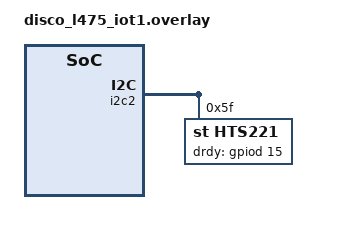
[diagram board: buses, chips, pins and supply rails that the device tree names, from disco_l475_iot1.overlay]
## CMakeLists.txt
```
# SPDX-License-Identifier: Apache-2.0

cmake_minimum_required(VERSION 3.20.0)

find_package(Zephyr REQUIRED HINTS $ENV{ZEPHYR_BASE})
project(disco_mqtt_2)

# Add all source files
FILE(GLOB app_sources src/*.c)
target_sources(app PRIVATE ${app_sources})

# Include common network utilities
include(${ZEPHYR_BASE}/samples/net/common/common.cmake) 
```

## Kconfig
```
# SPDX-License-Identifier: Apache-2.0

mainmenu "Disco MQTT 2 Application Configuration"

config NET_SAMPLE_MQTT_BROKER_HOSTNAME
	string "MQTT broker hostname"
	default "test.mosquitto.org"
	help
	  Hostname of the MQTT broker to connect to.

config NET_SAMPLE_MQTT_BROKER_PORT
	string "MQTT broker port"
	default "1883"
	help
	  Port number of the MQTT broker.

config NET_SAMPLE_MQTT_PUB_TOPIC
	string "MQTT publish topic"
	default "disco/sensors"
	help
	  MQTT topic to publish sensor data to.

config NET_SAMPLE_MQTT_SUB_TOPIC_CMD
	string "MQTT subscribe topic for commands"
	default "disco/commands"
	help
	  MQTT topic to subscribe to for receiving commands.

config NET_SAMPLE_MQTT_PUBLISH_INTERVAL
	int "MQTT publish interval (seconds)"
	default 5
	range 1 3600
	help
	  Interval between MQTT sensor data publications.

config NET_SAMPLE_MQTT_PAYLOAD_SIZE
	int "MQTT payload buffer size"
	default 512
	range 128 2048
	help
	  Size of the MQTT payload buffer in bytes.

choice NET_SAMPLE_MQTT_QOS
	prompt "MQTT QoS level"
	default NET_SAMPLE_MQTT_QOS_1_AT_LEAST_ONCE
	help
	  Select the MQTT Quality of Service level.

config NET_SAMPLE_MQTT_QOS_0_AT_MOST_ONCE
	bool "QoS 0 - At most once"

config NET_SAMPLE_MQTT_QOS_1_AT_LEAST_ONCE
	bool "QoS 1 - At least once"

config NET_SAMPLE_MQTT_QOS_2_EXACTLY_ONCE
	bool "QoS 2 - Exactly once"

endchoice

config WIFI_SSID
	string "WiFi SSID"
	default "ss Wireless"
	help
	  WiFi network SSID to connect to.

config WIFI_PASSWORD
	string "WiFi Password"
	default "Vivian1123"
	help
	  WiFi network password.

source "Kconfig.zephyr" 
```

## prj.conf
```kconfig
# Network Configuration
CONFIG_NETWORKING=y
CONFIG_NET_LOG=y
CONFIG_NET_IPV4=y
CONFIG_NET_TCP=y
CONFIG_NET_SOCKETS=y
# CONFIG_NET_SOCKETS_SOCKOPT_TLS=y  # Disabled for non-secure connection

# WiFi Configuration for disco l475 iot1
CONFIG_WIFI=y
CONFIG_WIFI_ESWIFI=y
CONFIG_WIFI_ESWIFI_BUS_SPI=y
CONFIG_NET_L2_WIFI_MGMT=y
CONFIG_NET_MGMT=y
CONFIG_NET_MGMT_EVENT_STACK_SIZE=2048

# Network Connection Manager
CONFIG_NET_CONNECTION_MANAGER=y
CONFIG_NET_IF_UNICAST_IPV4_ADDR_COUNT=3

# DHCP Client
CONFIG_NET_DHCPV4=y

# MQTT Configuration
CONFIG_MQTT_LIB=y
# CONFIG_MQTT_LIB_TLS=y  # Disabled for non-secure connection

# TLS/Security Configuration (disabled for simplicity)
# CONFIG_MBEDTLS=y
# CONFIG_MBEDTLS_BUILTIN=y
# CONFIG_MBEDTLS_ENABLE_HEAP=y
# CONFIG_MBEDTLS_HEAP_SIZE=65536
# CONFIG_MBEDTLS_SSL_MAX_CONTENT_LEN=16384
# CONFIG_MBEDTLS_PEM_CERTIFICATE_FORMAT=y
# CONFIG_MBEDTLS_SERVER_NAME_INDICATION=y

# JSON Support
CONFIG_JSON_LIBRARY=y

# Sensor Configuration
CONFIG_SENSOR=y
CONFIG_HTS221=y

# LED Support
CONFIG_LED=y
CONFIG_GPIO=y

# System Configuration
CONFIG_MAIN_STACK_SIZE=4096
CONFIG_SYSTEM_WORKQUEUE_STACK_SIZE=4096
CONFIG_NET_TX_STACK_SIZE=2048
CONFIG_NET_RX_STACK_SIZE=2048

# Debugging and Logging
CONFIG_LOG=y
CONFIG_PRINTK=y
# CONFIG_POSIX_API is not set

# Network Buffers - Optimized for WiFi
CONFIG_NET_PKT_RX_COUNT=32
CONFIG_NET_PKT_TX_COUNT=16
CONFIG_NET_BUF_RX_COUNT=64
CONFIG_NET_BUF_TX_COUNT=32
CONFIG_NET_BUF_DATA_SIZE=256

# WiFi Specific Tuning
CONFIG_WIFI_ESWIFI_THREAD_PRIO=5
CONFIG_NET_SOCKETS_POLL_MAX=4
CONFIG_NET_TCP_RECV_QUEUE_TIMEOUT=3000
CONFIG_NET_SOCKETS_CONNECT_TIMEOUT=30000
CONFIG_NET_TCP_TIME_WAIT_DELAY=3000

# Device Hostname
CONFIG_NET_HOSTNAME_ENABLE=y

# Entropy and Random Number Generation
CONFIG_ENTROPY_GENERATOR=y
CONFIG_TEST_RANDOM_GENERATOR=y

# Application specific configs
CONFIG_NET_SAMPLE_MQTT_PUBLISH_INTERVAL=5
CONFIG_NET_SAMPLE_MQTT_PAYLOAD_SIZE=512
CONFIG_NET_SAMPLE_MQTT_BROKER_HOSTNAME="192.168.0.253"
CONFIG_NET_SAMPLE_MQTT_BROKER_PORT="1883"
CONFIG_NET_SAMPLE_MQTT_PUB_TOPIC="disco/sensors"
CONFIG_NET_SAMPLE_MQTT_SUB_TOPIC_CMD="disco/commands"
CONFIG_NET_SAMPLE_MQTT_QOS_1_AT_LEAST_ONCE=y
CONFIG_WIFI_SSID="csse4011"
CONFIG_WIFI_PASSWORD="csse4011wifi"

# Disable ESWIFI Power Save Mode for more stable connection
# CONFIG_ESWIFI_PS_MODE_DISABLED=y # This was incorrect
CONFIG_PM_DEVICE=n # Try disabling general device power management

# Network Samples
# CONFIG_NET_SAMPLE_APP_MAX_ITERATIONS=-1 # This was incorrect, removing duplicate
# Network Connectivity Manager
CONFIG_NET_CONNECTION_MANAGER=y
```

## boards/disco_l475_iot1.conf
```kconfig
# Board-specific configuration for DISCO L475 IOT1

# WiFi configuration specific to ISM43362 module
CONFIG_WIFI_ESWIFI_THREAD_PRIO=5
CONFIG_WIFI_ESWIFI_BUS_SPI=y

# SPI configuration for WiFi module
CONFIG_SPI=y

# GPIO configuration for WiFi module control
CONFIG_GPIO=y

# On-board sensor configuration (HTS221)
CONFIG_HTS221=y
CONFIG_I2C=y

# LED configuration for status indication
CONFIG_LED=y
CONFIG_LED_GPIO=y

# Optimize memory for disco l475 iot1
CONFIG_MAIN_STACK_SIZE=4096
CONFIG_SYSTEM_WORKQUEUE_STACK_SIZE=4096
CONFIG_NET_TX_STACK_SIZE=2048
CONFIG_NET_RX_STACK_SIZE=2048

# Network buffer optimization for WiFi
CONFIG_NET_PKT_RX_COUNT=24
CONFIG_NET_PKT_TX_COUNT=12
CONFIG_NET_BUF_RX_COUNT=48
CONFIG_NET_BUF_TX_COUNT=24

# WiFi driver specific settings
CONFIG_WIFI_ESWIFI_THREAD_PRIO=5
CONFIG_NET_MGMT_EVENT_STACK_SIZE=2048

# Disable features not needed on this board
CONFIG_NET_IPV6=n 
```

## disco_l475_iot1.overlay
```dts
/*
 * Device tree overlay for disco_l475_iot1 to enable HTS221 sensor access
 * SPDX-License-Identifier: Apache-2.0
 */

/* Add label to HTS221 sensor and enable it */
&i2c2 {
	hts221: hts221@5f {
		compatible = "st,hts221";
		reg = <0x5f>;
		drdy-gpios = <&gpiod 15 GPIO_ACTIVE_HIGH>;
		status = "okay";
	};
};

/ {
	aliases {
		ambient-temp0 = &hts221;
		ambient-humid0 = &hts221;
		temp0 = &hts221;
		humid0 = &hts221;
	};
}; 
```

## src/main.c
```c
/*
 * Copyright (c) 2024 disco_mqtt_2 project
 * SPDX-License-Identifier: Apache-2.0
 */

#include <zephyr/logging/log.h>
LOG_MODULE_REGISTER(app_main, LOG_LEVEL_INF);

#include <zephyr/kernel.h>
#include <zephyr/net/net_if.h>
#include <zephyr/net/net_mgmt.h>
#include <zephyr/net/conn_mgr_monitor.h>
#include <zephyr/net/dhcpv4.h>

#include "device.h"
#include "wifi_manager.h"
#include "mqtt_client.h"

/* MQTT client instance */
static struct mqtt_client client_ctx;

/* Work queue for periodic MQTT publishing */
// static struct k_work_delayable mqtt_publish_work;

/* Network connection semaphore */
K_SEM_DEFINE(net_conn_sem, 0, 1);

/* Network management callback */
static struct net_mgmt_event_callback net_l4_mgmt_cb;

/* Application state */
static bool app_running = true;
static bool network_connected = false;

static void net_l4_evt_handler(struct net_mgmt_event_callback *cb,
			       uint32_t mgmt_event, struct net_if *iface)
{
	switch (mgmt_event) {
	case NET_EVENT_L4_CONNECTED:
		LOG_INF("Network L4 connected!");
		network_connected = true;
		device_write_led(LED_STATUS, LED_ON);
		k_sem_give(&net_conn_sem);
		break;
	case NET_EVENT_L4_DISCONNECTED:
		LOG_INF("Network L4 disconnected!");
		network_connected = false;
		device_write_led(LED_STATUS, LED_OFF);
		device_write_led(LED_NET, LED_OFF);
		break;
	default:
		break;
	}
}

static void log_network_info(struct net_if *iface)
{
	char addr_str[NET_IPV4_ADDR_LEN];
	struct net_linkaddr *mac;

	/* Log MAC address */
	mac = net_if_get_link_addr(iface);
	if (mac) {
		LOG_INF("MAC Address: %02X:%02X:%02X:%02X:%02X:%02X",
			mac->addr[0], mac->addr[1], mac->addr[2],
			mac->addr[3], mac->addr[4], mac->addr[5]);
	}

	/* Log IP address if available */
	if (wifi_get_ip_address(addr_str, sizeof(addr_str)) == 0) {
		LOG_INF("IP Address: %s", addr_str);
	}
}

static int initialize_network(void)
{
	struct net_if *iface;
	int rc;

	/* Get default network interface */
	iface = net_if_get_default();
	if (!iface) {
		LOG_ERR("No default network interface found");
		return -ENETDOWN;
	}

	log_network_info(iface);

	/* Register L4 connectivity events */
	net_mgmt_init_event_callback(&net_l4_mgmt_cb, net_l4_evt_handler,
				     NET_EVENT_L4_CONNECTED | NET_EVENT_L4_DISCONNECTED);
	net_mgmt_add_event_callback(&net_l4_mgmt_cb);

	/* Initialize WiFi manager */
	rc = wifi_manager_init();
	if (rc != 0) {
		LOG_ERR("WiFi manager initialization failed [%d]", rc);
		return rc;
	}

	LOG_INF("Network initialization complete");
	return 0;
}

static int connect_to_network(void)
{
	int rc;

	LOG_INF("Starting network connection...");

	/* Optional: Scan for networks first */
	rc = wifi_scan();
	if (rc != 0) {
		LOG_WRN("WiFi scan failed [%d], continuing anyway", rc);
	}

	/* Connect to WiFi */
	rc = wifi_connect(CONFIG_WIFI_SSID, CONFIG_WIFI_PASSWORD);
	if (rc != 0) {
		LOG_ERR("WiFi connection failed [%d]", rc);
		return rc;
	}

	/* Wait for L4 connectivity (DHCP) */
	LOG_INF("Waiting for IP address assignment...");
	if (k_sem_take(&net_conn_sem, K_SECONDS(30)) != 0) {
		LOG_ERR("Network connectivity timeout");
		return -ETIMEDOUT;
	}

	/* Allow network stack to stabilize */
	k_sleep(K_SECONDS(2));

	LOG_INF("Network connection established successfully");
	log_network_info(net_if_get_default());

	return 0;
}

static int mqtt_connection_loop(void)
{
	int rc;

	while (app_running && network_connected) {
		/* Initialize MQTT client */
		rc = app_mqtt_init(&client_ctx);
		if (rc != 0) {
			LOG_ERR("MQTT initialization failed [%d]", rc);
			k_sleep(K_SECONDS(5));
			continue;
		}

		/* Connect to MQTT broker */
		LOG_INF("Connecting to MQTT broker...");
		app_mqtt_connect(&client_ctx);

		if (mqtt_connected) {
			/* Publishing is now handled in app_mqtt_run() loop */
			// k_work_reschedule(&mqtt_publish_work, K_NO_WAIT);

			/* Run MQTT processing loop */
			app_mqtt_run(&client_ctx);

			/* No work-queue to cancel after disconnect */
			// k_work_cancel_delayable(&mqtt_publish_work);
		}

		/* Wait before attempting reconnection */
		if (app_running && network_connected) {
			LOG_INF("Attempting MQTT reconnection in 15 seconds...");
			k_sleep(K_SECONDS(15));
		}
	}

	return 0;
}

int main(void)
{
	int rc;

	LOG_INF("Starting Disco MQTT 2.0 Application");
	LOG_INF("Board: disco_l475_iot1");
	LOG_INF("Build timestamp: %s %s", __DATE__, __TIME__);

	/* Initialize devices */
	rc = devices_init();
	if (rc != 0) {
		LOG_ERR("Device initialization failed [%d]", rc);
		device_write_led(LED_ERROR, LED_ON);
		return rc;
	}

	/* Check device readiness */
	if (!devices_ready()) {
		LOG_WRN("Some devices are not ready, continuing anyway");
	}

	/* Initialize network */
	rc = initialize_network();
	if (rc != 0) {
		LOG_ERR("Network initialization failed [%d]", rc);
		device_write_led(LED_ERROR, LED_ON);
		return rc;
	}

	/* Connect to network */
	rc = connect_to_network();
	if (rc != 0) {
		LOG_ERR("Network connection failed [%d]", rc);
		device_write_led(LED_ERROR, LED_ON);
		return rc;
	}

	/* Main application loop - MQTT connection and processing */
	LOG_INF("Starting MQTT connection loop...");
	rc = mqtt_connection_loop();

	/* Cleanup */
	LOG_INF("Application shutting down");
	app_running = false;
	// k_work_cancel_delayable(&mqtt_publish_work);
	device_write_led(LED_STATUS, LED_OFF);
	device_write_led(LED_NET, LED_OFF);
	device_write_led(LED_ERROR, LED_OFF);

	return rc;
} 
```

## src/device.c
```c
/*
 * Copyright (c) 2024 disco_mqtt_2 project
 * SPDX-License-Identifier: Apache-2.0
 */

#include <zephyr/logging/log.h>
LOG_MODULE_REGISTER(app_device, LOG_LEVEL_DBG);

#include <zephyr/kernel.h>
#include <zephyr/drivers/sensor.h>
#include <zephyr/drivers/gpio.h>
#include <zephyr/random/random.h>
#include <string.h>

#include "device.h"

/* HTS221 Temperature/Humidity sensor */
static const struct device *hts221_dev = DEVICE_DT_GET_OR_NULL(DT_ALIAS(ambient_temp0));

/* GPIO LEDs using the built-in LED on disco l475 iot1 */
#define LED0_NODE DT_ALIAS(led0)
static const struct gpio_dt_spec led_status = GPIO_DT_SPEC_GET(LED0_NODE, gpios);

/* Built-in LED2 for network status */
#define LED2_NODE DT_ALIAS(led2)
static const struct gpio_dt_spec led_net = GPIO_DT_SPEC_GET_OR(LED2_NODE, gpios, {0});

/* Command handler functions */
static void led_on_handler(void)
{
	device_write_led(LED_STATUS, LED_ON);
	LOG_INF("Status LED turned ON via command");
}

static void led_off_handler(void)
{
	device_write_led(LED_STATUS, LED_OFF);
	LOG_INF("Status LED turned OFF via command");
}

static void status_handler(void)
{
	LOG_INF("Device Status:");
	LOG_INF("  HTS221 sensor: %s", hts221_dev ? "Ready" : "Not available");
	LOG_INF("  Status LED: %s", gpio_is_ready_dt(&led_status) ? "Ready" : "Not ready");
	LOG_INF("  Network LED: %s", gpio_is_ready_dt(&led_net) ? "Ready" : "Not ready");
}

/* Supported device commands */
struct device_cmd device_commands[] = {
	{"led_on", led_on_handler},
	{"led_off", led_off_handler},
	{"status", status_handler}
};

const size_t num_device_commands = ARRAY_SIZE(device_commands);

void device_command_handler(uint8_t *command)
{
	if (command == NULL) {
		LOG_ERR("Null command received");
		return;
	}

	for (int i = 0; i < num_device_commands; i++) {
		if (strcmp((char *)command, device_commands[i].command) == 0) {
			LOG_INF("Executing device command: %s", device_commands[i].command);
			device_commands[i].handler();
			return;
		}
	}
	LOG_WRN("Unknown command: %s", command);
}

int device_read_sensor(struct sensor_sample *sample)
{
	static uint32_t counter = 1;

	if (sample == NULL) {
		return -EINVAL;
	}

	/* Initialize sample structure */
	memset(sample, 0, sizeof(*sample));
	sample->unit = "Count";
	sample->timestamp = k_uptime_get();
	
	/* Simple counting numbers instead of sensor data */
	sample->temperature = counter;
	sample->humidity = counter * 2;
	
	LOG_INF("Sending count values: temperature=%d, humidity=%d", 
		counter, counter * 2);
	
	counter++;
	if (counter > 1000) {
		counter = 1; /* Reset after 1000 */
	}

	return 0;
}

int device_write_led(enum led_id led_idx, enum led_state state)
{
	int rc = 0;
	const struct gpio_dt_spec *led_spec = NULL;

	/* Select appropriate LED */
	switch (led_idx) {
	case LED_STATUS:
		led_spec = &led_status;
		break;
	case LED_NET:
		led_spec = &led_net;
		break;
	case LED_ERROR:
		/* Use status LED for error indication with blinking pattern */
		led_spec = &led_status;
		break;
	default:
		LOG_ERR("Invalid LED index: %d", led_idx);
		return -EINVAL;
	}

	/* Check if LED GPIO is ready */
	if (!gpio_is_ready_dt(led_spec)) {
		LOG_DBG("LED %d GPIO not ready, simulating", led_idx);
		if (state == LED_ON) {
			LOG_INF("LED %d: ON (simulated)", led_idx);
		} else {
			LOG_INF("LED %d: OFF (simulated)", led_idx);
		}
		return 0;
	}

	/* Set LED state */
	switch (state) {
	case LED_OFF:
		rc = gpio_pin_set_dt(led_spec, 0);
		if (rc == 0) {
			LOG_DBG("LED %d turned OFF", led_idx);
		}
		break;
	case LED_ON:
		rc = gpio_pin_set_dt(led_spec, 1);
		if (rc == 0) {
			LOG_DBG("LED %d turned ON", led_idx);
		}
		break;
	default:
		LOG_ERR("Invalid LED state: %d", state);
		rc = -EINVAL;
		break;
	}

	if (rc != 0) {
		LOG_ERR("Failed to set LED %d state to %d [%d]", led_idx, state, rc);
	}

	return rc;
}

bool devices_ready(void)
{
	bool all_ready = true;

	/* Check HTS221 sensor readiness */
	if (hts221_dev != NULL) {
		if (!device_is_ready(hts221_dev)) {
			LOG_WRN("HTS221 sensor is not ready");
			all_ready = false;
		} else {
			LOG_INF("HTS221 sensor is ready");
		}
	} else {
		LOG_WRN("HTS221 sensor device not found in device tree");
	}

	/* Check status LED GPIO readiness */
	if (!gpio_is_ready_dt(&led_status)) {
		LOG_WRN("Status LED GPIO is not ready");
		all_ready = false;
	} else {
		LOG_INF("Status LED is ready");
	}

	/* Check network LED GPIO readiness (optional) */
	if (gpio_is_ready_dt(&led_net)) {
		LOG_INF("Network LED is ready");
	} else {
		LOG_DBG("Network LED not available (using status LED for network indication)");
	}

	return all_ready;
}

int devices_init(void)
{
	int rc = 0;

	LOG_INF("Initializing devices...");

	/* Configure status LED GPIO */
	if (gpio_is_ready_dt(&led_status)) {
		rc = gpio_pin_configure_dt(&led_status, GPIO_OUTPUT_INACTIVE);
		if (rc != 0) {
			LOG_ERR("Failed to configure status LED GPIO [%d]", rc);
			return rc;
		}
		LOG_INF("Status LED GPIO configured");
	}

	/* Configure network LED GPIO (if available) */
	if (gpio_is_ready_dt(&led_net)) {
		rc = gpio_pin_configure_dt(&led_net, GPIO_OUTPUT_INACTIVE);
		if (rc != 0) {
			LOG_WRN("Failed to configure network LED GPIO [%d]", rc);
			/* Don't fail initialization for optional LED */
		} else {
			LOG_INF("Network LED GPIO configured");
		}
	}

	/* Initialize device status with LEDs off */
	device_write_led(LED_STATUS, LED_OFF);
	device_write_led(LED_NET, LED_OFF);

	LOG_INF("Device initialization complete");
	return 0;
} 
```

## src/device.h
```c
/*
 * Copyright (c) 2024 disco_mqtt_2 project
 * SPDX-License-Identifier: Apache-2.0
 */

#ifndef __DEVICE_H__
#define __DEVICE_H__

#include <zephyr/kernel.h>
#include <zephyr/drivers/sensor.h>
#include <zephyr/drivers/led.h>

/* LED identifiers */
enum led_id {
	LED_STATUS = 0,     /* General status LED */
	LED_NET = 1,        /* Network connectivity LED */
	LED_ERROR = 2       /* Error indication LED */
};

/* LED states */
enum led_state {
	LED_OFF = 0,
	LED_ON = 1
};

/* Sensor sample structure for JSON encoding */
struct sensor_sample {
	const char *unit;
	int32_t temperature;
	int32_t humidity;
	int64_t timestamp;
};

/* Device command structure */
struct device_cmd {
	const char *command;
	void (*handler)(void);
};

/* External array of supported commands */
extern struct device_cmd device_commands[];
extern const size_t num_device_commands;

/* Function prototypes */

/**
 * @brief Check if all devices are ready
 * @return true if all devices are ready, false otherwise
 */
bool devices_ready(void);

/**
 * @brief Read sensor data and populate sample structure
 * @param sample Pointer to sensor_sample structure to fill
 * @return 0 on success, negative error code on failure
 */
int device_read_sensor(struct sensor_sample *sample);

/**
 * @brief Control LED state
 * @param led_idx LED identifier
 * @param state LED state (on/off)
 * @return 0 on success, negative error code on failure
 */
int device_write_led(enum led_id led_idx, enum led_state state);

/**
 * @brief Handle device commands received via MQTT
 * @param command Command string to execute
 */
void device_command_handler(uint8_t *command);

/**
 * @brief Initialize all devices
 * @return 0 on success, negative error code on failure
 */
int devices_init(void);

#endif /* __DEVICE_H__ */ 
```

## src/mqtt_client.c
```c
/*
 * Copyright (c) 2024 disco_mqtt_2 project
 * SPDX-License-Identifier: Apache-2.0
 */

#include <zephyr/logging/log.h>
LOG_MODULE_REGISTER(app_mqtt, LOG_LEVEL_DBG);

#include <zephyr/kernel.h>
#include <zephyr/net/net_if.h>
#include <zephyr/net/socket.h>
#include <zephyr/net/net_ip.h>
#include <zephyr/net/mqtt.h>
#include <zephyr/data/json.h>
#include <zephyr/random/random.h>
#include <string.h>
#include <errno.h>
#include <math.h>
#include <stdint.h>

#include "mqtt_client.h"
#include "device.h"

/* MQTT buffers */
static uint8_t rx_buffer[CONFIG_NET_SAMPLE_MQTT_PAYLOAD_SIZE];
static uint8_t tx_buffer[CONFIG_NET_SAMPLE_MQTT_PAYLOAD_SIZE];
static uint8_t payload_buf[CONFIG_NET_SAMPLE_MQTT_PAYLOAD_SIZE];

/* MQTT broker address storage */
static struct sockaddr_storage broker;

/* Socket polling */
static struct zsock_pollfd fds[1];
static int nfds;

/* MQTT client ID buffer */
static uint8_t client_id[64];

/* MQTT connectivity status */
bool mqtt_connected = false;

/* JSON descriptor for sensor data */
static const struct json_obj_descr sensor_sample_descr[] = {
	JSON_OBJ_DESCR_PRIM(struct sensor_sample, unit, JSON_TOK_STRING),
	JSON_OBJ_DESCR_PRIM(struct sensor_sample, temperature, JSON_TOK_NUMBER),
	JSON_OBJ_DESCR_PRIM(struct sensor_sample, humidity, JSON_TOK_NUMBER),
	JSON_OBJ_DESCR_PRIM(struct sensor_sample, timestamp, JSON_TOK_NUMBER),
};

#if defined(CONFIG_MQTT_LIB_TLS)
/* TLS configuration */
#define TLS_SNI_HOSTNAME    CONFIG_NET_SAMPLE_MQTT_BROKER_HOSTNAME
#define APP_CA_CERT_TAG     1

static const sec_tag_t m_sec_tags[] = {
	APP_CA_CERT_TAG,
};

static int tls_init(void)
{
	/* For now, we'll use non-secure connection for simplicity */
	/* TLS configuration can be added here when certificates are available */
	LOG_INF("TLS support compiled in but using non-secure connection");
	return 0;
}
#endif

static void prepare_fds(struct mqtt_client *client)
{
	if (client->transport.type == MQTT_TRANSPORT_NON_SECURE) {
		fds[0].fd = client->transport.tcp.sock;
	}
#if defined(CONFIG_MQTT_LIB_TLS)
	else if (client->transport.type == MQTT_TRANSPORT_SECURE) {
		fds[0].fd = client->transport.tls.sock;
	}
#endif

	fds[0].events = ZSOCK_POLLIN;
	nfds = 1;
}

static void clear_fds(void)
{
	nfds = 0;
}

static void init_mqtt_client_id(void)
{
	/* Generate unique client ID with board name and random suffix */
	snprintk((char *)client_id, sizeof(client_id), 
		 "disco_l475_%08x", sys_rand32_get());
}

static inline void on_mqtt_connect(void)
{
	mqtt_connected = true;
	device_write_led(LED_NET, LED_ON);
	LOG_INF("Connected to MQTT broker!");
	LOG_INF("Hostname: %s", CONFIG_NET_SAMPLE_MQTT_BROKER_HOSTNAME);
	LOG_INF("Client ID: %s", client_id);
	LOG_INF("Port: %s", CONFIG_NET_SAMPLE_MQTT_BROKER_PORT);
}

static inline void on_mqtt_disconnect(void)
{
	mqtt_connected = false;
	clear_fds();
	device_write_led(LED_NET, LED_OFF);
	LOG_INF("Disconnected from MQTT broker");
}

static void on_mqtt_publish(struct mqtt_client *const client, const struct mqtt_evt *evt)
{
	int rc;
	uint8_t payload[CONFIG_NET_SAMPLE_MQTT_PAYLOAD_SIZE];
	size_t payload_len;

	if (evt->param.publish.message.payload.len >= sizeof(payload)) {
		LOG_ERR("MQTT payload too large: %d bytes", 
			evt->param.publish.message.payload.len);
		return;
	}

	rc = mqtt_read_publish_payload(client, payload, sizeof(payload) - 1);
	if (rc < 0) {
		LOG_ERR("Failed to read received MQTT payload [%d]", rc);
		return;
	}

	payload_len = rc;
	payload[payload_len] = '\0'; /* Null-terminate */

	LOG_INF("MQTT payload received!");
	LOG_INF("Topic: '%.*s'", 
		evt->param.publish.message.topic.topic.size,
		evt->param.publish.message.topic.topic.utf8);
	LOG_INF("Payload: %s", payload);

	/* Check if this is a command topic */
	if (strncmp((char *)evt->param.publish.message.topic.topic.utf8,
		    CONFIG_NET_SAMPLE_MQTT_SUB_TOPIC_CMD,
		    evt->param.publish.message.topic.topic.size) == 0) {
		device_command_handler(payload);
	}
}

static void mqtt_event_handler(struct mqtt_client *const client, const struct mqtt_evt *evt)
{
	switch (evt->type) {
	case MQTT_EVT_CONNACK:
		if (evt->result != 0) {
			LOG_ERR("MQTT connect failed [%d]", evt->result);
			break;
		}
		on_mqtt_connect();
		break;

	case MQTT_EVT_DISCONNECT:
		on_mqtt_disconnect();
		break;

	case MQTT_EVT_PINGRESP:
		LOG_DBG("PINGRESP packet received");
		break;

	case MQTT_EVT_PUBACK:
		if (evt->result != 0) {
			LOG_ERR("MQTT PUBACK error [%d]", evt->result);
			break;
		}
		LOG_DBG("PUBACK packet ID: %u", evt->param.puback.message_id);
		break;

	case MQTT_EVT_PUBREC:
		if (evt->result != 0) {
			LOG_ERR("MQTT PUBREC error [%d]", evt->result);
			break;
		}
		LOG_DBG("PUBREC packet ID: %u", evt->param.pubrec.message_id);

		const struct mqtt_pubrel_param rel_param = {
			.message_id = evt->param.pubrec.message_id
		};
		mqtt_publish_qos2_release(client, &rel_param);
		break;

	case MQTT_EVT_PUBREL:
		if (evt->result != 0) {
			LOG_ERR("MQTT PUBREL error [%d]", evt->result);
			break;
		}
		LOG_DBG("PUBREL packet ID: %u", evt->param.pubrel.message_id);

		const struct mqtt_pubcomp_param comp_param = {
			.message_id = evt->param.pubrel.message_id
		};
		mqtt_publish_qos2_complete(client, &comp_param);
		break;

	case MQTT_EVT_PUBCOMP:
		if (evt->result != 0) {
			LOG_ERR("MQTT PUBCOMP error [%d]", evt->result);
			break;
		}
		LOG_DBG("PUBCOMP packet ID: %u", evt->param.pubcomp.message_id);
		break;

	case MQTT_EVT_SUBACK:
		if (evt->result == MQTT_SUBACK_FAILURE) {
			LOG_ERR("MQTT SUBACK failure [%d]", evt->result);
			break;
		}
		LOG_INF("SUBACK packet ID: %d", evt->param.suback.message_id);
		break;

	case MQTT_EVT_PUBLISH:
		/* Handle incoming publish messages */
		const struct mqtt_publish_param *p = &evt->param.publish;

		/* Send ACK for QoS 1 */
		if (p->message.topic.qos == MQTT_QOS_1_AT_LEAST_ONCE) {
			const struct mqtt_puback_param ack_param = {
				.message_id = p->message_id
			};
			mqtt_publish_qos1_ack(client, &ack_param);
		}
		/* Send REC for QoS 2 */
		else if (p->message.topic.qos == MQTT_QOS_2_EXACTLY_ONCE) {
			const struct mqtt_pubrec_param rec_param = {
				.message_id = p->message_id
			};
			mqtt_publish_qos2_receive(client, &rec_param);
		}

		on_mqtt_publish(client, evt);
		break;

	default:
		LOG_DBG("Unhandled MQTT event type: %d", evt->type);
		break;
	}
}

static int poll_mqtt_socket(struct mqtt_client *client, int timeout)
{
	int rc;

	prepare_fds(client);

	if (nfds <= 0) {
		return -EINVAL;
	}

	rc = zsock_poll(fds, nfds, timeout);
	if (rc < 0) {
		LOG_ERR("Socket poll error (from poll_mqtt_socket, zsock_poll rc): [%d]", rc);
	}

	return rc;
}

static int get_mqtt_payload(struct mqtt_binstr *payload)
{
	int rc;
	struct sensor_sample sample;

	/* Clear payload buffer first */
	memset(payload_buf, 0, sizeof(payload_buf));

	/* Read sensor data */
	rc = device_read_sensor(&sample);
	if (rc != 0) {
		LOG_ERR("Failed to read sensor data [%d]", rc);
		return rc;
	}

	if (sample.timestamp <= 0) {
		sample.timestamp = k_uptime_get();
	}

	LOG_DBG("Sensor values: T=%d, H=%d, timestamp=%lld", 
		sample.temperature, sample.humidity, sample.timestamp);

	/* Encode sensor data as JSON */
	rc = json_obj_encode_buf(sensor_sample_descr, ARRAY_SIZE(sensor_sample_descr),
				 &sample, payload_buf, sizeof(payload_buf) - 1);
	if (rc != 0) {
		LOG_ERR("Failed to encode JSON object [%d]", rc);
		return rc;
	}

	/* Ensure null termination */
	payload_buf[sizeof(payload_buf) - 1] = '\0';
	
	payload->data = payload_buf;
	payload->len = strlen((char *)payload->data);

	/* Validate payload size */
	if (payload->len == 0 || payload->len >= sizeof(payload_buf)) {
		LOG_ERR("Invalid payload length: %d", payload->len);
		return -EINVAL;
	}

	LOG_INF("JSON payload (%d bytes): %s", payload->len, payload->data);
	return 0;
}

int app_mqtt_publish(struct mqtt_client *client)
{
	int rc;
	struct mqtt_publish_param param;
	struct mqtt_binstr payload;
	static uint16_t msg_id = 1;

	if (!mqtt_connected) {
		LOG_WRN("MQTT not connected, skipping publish");
		return -ENOTCONN;
	}

	/* Get sensor data as JSON payload */
	rc = get_mqtt_payload(&payload);
	if (rc != 0) {
		LOG_ERR("Failed to get MQTT payload [%d]", rc);
		return rc;
	}

	/* Set up MQTT topic */
	struct mqtt_topic topic = {
		.topic = {
			.utf8 = (uint8_t *)CONFIG_NET_SAMPLE_MQTT_PUB_TOPIC,
			.size = strlen(CONFIG_NET_SAMPLE_MQTT_PUB_TOPIC)
		},
		.qos = IS_ENABLED(CONFIG_NET_SAMPLE_MQTT_QOS_0_AT_MOST_ONCE) ? 0 :
		       (IS_ENABLED(CONFIG_NET_SAMPLE_MQTT_QOS_1_AT_LEAST_ONCE) ? 1 : 2)
	};

	/* Set up publish parameters */
	memset(&param, 0, sizeof(param));
	param.message.topic = topic;
	param.message.payload = payload;
	param.message_id = msg_id++;
	param.dup_flag = 0;
	param.retain_flag = 0;

	/* Publish the message */
	rc = mqtt_publish(client, &param);
	if (rc != 0) {
		LOG_ERR("MQTT publish failed [%d]", rc);
		if (rc == -ENOTCONN || rc == -95) { // -95 is EOPNOTSUPP
			LOG_ERR("Connection lost due to publish failure, marking as disconnected");
			mqtt_connected = false;
		}
		/* Don't return error - let the system continue its reconnect logic */
		LOG_WRN("Continuing despite publish failure (reconnect logic will take over if disconnected)");
		return 0; /* Return success-like to prevent hanging in specific call chains, rely on mqtt_connected */
	}

	LOG_INF("Published to topic '%s', QoS %d, payload: %.*s",
		CONFIG_NET_SAMPLE_MQTT_PUB_TOPIC,
		param.message.topic.qos,
		(int)payload.len, payload.data);

	return 0;
}

int app_mqtt_subscribe(struct mqtt_client *client)
{
	int rc;
	struct mqtt_topic sub_topics[] = {
		{
			.topic = {
				.utf8 = (uint8_t *)CONFIG_NET_SAMPLE_MQTT_SUB_TOPIC_CMD,
				.size = strlen(CONFIG_NET_SAMPLE_MQTT_SUB_TOPIC_CMD)
			},
			.qos = IS_ENABLED(CONFIG_NET_SAMPLE_MQTT_QOS_0_AT_MOST_ONCE) ? 0 :
			       (IS_ENABLED(CONFIG_NET_SAMPLE_MQTT_QOS_1_AT_LEAST_ONCE) ? 1 : 2)
		}
	};

	const struct mqtt_subscription_list sub_list = {
		.list = sub_topics,
		.list_count = ARRAY_SIZE(sub_topics),
		.message_id = sys_rand16_get()
	};

	LOG_INF("Subscribing to %d topic(s)", sub_list.list_count);

	rc = mqtt_subscribe(client, &sub_list);
	if (rc != 0) {
		LOG_ERR("MQTT subscribe failed [%d]", rc);
	} else {
		LOG_INF("Subscribed to command topic: %s", CONFIG_NET_SAMPLE_MQTT_SUB_TOPIC_CMD);
	}

	return rc;
}

int app_mqtt_process(struct mqtt_client *client)
{
	int rc;

	// poll_mqtt_socket now logs its own "Socket poll error (from poll_mqtt_socket, zsock_poll rc): [rc_val]"
	rc = poll_mqtt_socket(client, mqtt_keepalive_time_left(client)); 

	if (rc > 0) { // Data available
		if (fds[0].revents & ZSOCK_POLLIN) {
			rc = mqtt_input(client);
			if (rc != 0) {
				LOG_ERR("MQTT input failed [%d]", rc);
				return rc; // Propagate error from mqtt_input
			}
		}
		if (fds[0].revents & (ZSOCK_POLLHUP | ZSOCK_POLLERR)) {
			LOG_ERR("MQTT socket HUP or ERR event on poll");
			return -ENOTCONN; // Indicate connection is effectively lost
		}
	} else if (rc == 0) { // Poll timeout, time for keepalive
		k_sleep(K_MSEC(50)); 
		rc = mqtt_live(client);
		if (rc != 0 && rc != -EAGAIN) {
			LOG_ERR("MQTT live (keepalive) failed [%d]", rc);
			return rc; // Propagate error from mqtt_live
		}
		// If rc is -EAGAIN, mqtt_live will be called again. If 0, success.
		// Ensure rc is 0 on success from mqtt_live if no error.
		if (rc == -EAGAIN) return 0; // Treat EAGAIN as "try again later", not an immediate process error
                                             // but let mqtt_keepalive_time_left recalculate.
                                             // Or, mqtt_live should return 0 if it sent PINGREQ and expects PINGRESP.
                                             // Let's assume mqtt_live returns 0 on success (PINGREQ sent or not needed yet)
                                             // and only errors for actual failures.
	} else { // rc < 0, poll_mqtt_socket already logged its specific error
		// <<< MODIFICATION for clarity >>>
		// This log now clearly states it's from app_mqtt_process and shows both rc and errno
		LOG_ERR("Poll failure in app_mqtt_process: zsock_poll_rc=%d, current_errno=%d", rc, errno);
		return rc; // Return the original error code from zsock_poll (via poll_mqtt_socket)
	}

	return 0; // Success
}

// <<< NEW CODE / MODIFICATION from previous suggestion >>>
void app_mqtt_run(struct mqtt_client *client)
{
	int rc;
	uint64_t last_publish_time; 
	bool initial_delay_done = false; // Flag to ensure delay happens only once per run session

	rc = app_mqtt_subscribe(client);
	if (rc != 0) {
		LOG_WRN("Failed to subscribe to topics [%d]", rc);
		// Potentially critical: if subscribe fails, app might not function as expected.
		// Consider if this should lead to an attempt to disconnect and reconnect.
		// For now, it continues.
	}

	LOG_INF("Entering MQTT run loop...");

	while (mqtt_connected) {
		if (!initial_delay_done) {
			LOG_DBG("Initial short delay in MQTT run loop before first operation...");
			k_sleep(K_MSEC(1000)); // Delay for 1 second (adjustable)
			initial_delay_done = true;
			last_publish_time = k_uptime_get(); // Initialize after delay for correct first publish timing
		}

		uint64_t now = k_uptime_get();
		if ((now - last_publish_time) >= ((uint64_t)CONFIG_NET_SAMPLE_MQTT_PUBLISH_INTERVAL * 1000)) {
			if (!mqtt_connected) { // Re-check connection status before attempting publish
				break;
			}
			LOG_DBG("Attempting to publish data...");
			// app_mqtt_publish itself will set mqtt_connected = false on critical errors
			// and log the specifics.
			(void)app_mqtt_publish(client); // We rely on mqtt_connected state after this
			last_publish_time = now;
		}

		if (!mqtt_connected) { // Check if publish marked us as disconnected
			LOG_WRN("mqtt_connected is false (likely after publish attempt), exiting run loop.");
			break;
		}

		rc = app_mqtt_process(client); // This handles incoming messages and keepalives
		if (rc != 0) {
			// app_mqtt_process logs its own errors, including the modified poll error message.
			// If app_mqtt_process returns an error (e.g. from mqtt_input, mqtt_live, or poll error)
			// we log it here and sleep. If the error was critical enough to sever the connection,
			// the MQTT library's event handler (via mqtt_input) or our logic should set mqtt_connected = false.
			LOG_ERR("app_mqtt_process returned error [%d]. Current errno: %d. MQTT state: %s", rc, errno, mqtt_connected ? "connected" : "disconnected");
			
			if (mqtt_connected) { // Only sleep and continue if still marked as connected
				k_sleep(K_MSEC(1000)); // Wait 1 second before next iteration of the run loop
			}
		} else {
			// Success from app_mqtt_process (e.g., data handled, or keepalive sent/not needed yet)
			k_sleep(K_MSEC(50)); // Short sleep to yield CPU if everything is okay
		}
	}

	LOG_INF("MQTT run loop exiting (mqtt_connected: %s)", mqtt_connected ? "true" : "false");
}
// <<< END NEW CODE / MODIFICATION >>>


void app_mqtt_connect(struct mqtt_client *client)
{
	int rc;
	int retry_count = 0;
	const int max_retries = 5;

	mqtt_connected = false;

	while (!mqtt_connected && retry_count < max_retries) {
		LOG_INF("Attempting MQTT connection (attempt %d/%d)", 
			retry_count + 1, max_retries);

		rc = mqtt_connect(client);
		if (rc != 0) {
			LOG_ERR("MQTT connect call failed [%d]", rc);
			retry_count++;
			k_sleep(K_MSEC(MSECS_WAIT_RECONNECT));
			continue;
		}

		/* Poll for connection response */
		rc = poll_mqtt_socket(client, MSECS_NET_POLL_TIMEOUT); // poll_mqtt_socket logs its own error
		if (rc > 0) { // Data available (should be CONNACK)
			rc = mqtt_input(client); // Process the incoming CONNACK
			if (rc != 0) {
				LOG_ERR("MQTT input during connection (processing CONNACK) failed [%d]", rc);
				// mqtt_event_handler should set mqtt_connected if CONNACK result is bad
			}
		} else if (rc == 0) { // Timeout waiting for CONNACK
			LOG_WRN("Timeout waiting for CONNACK from broker.");
		}
		// If rc < 0, poll_mqtt_socket already logged the specific poll error code.
		// app_mqtt_process's more detailed errno log isn't called here.

		if (!mqtt_connected) { // mqtt_connected is set by on_mqtt_connect via event_handler
			LOG_WRN("MQTT connection not established after attempt, aborting current try.");
			mqtt_abort(client); // Cleanly abort the current connection attempt
			retry_count++;
			k_sleep(K_MSEC(MSECS_WAIT_RECONNECT));
		}
	}

	if (!mqtt_connected) {
		LOG_ERR("Failed to connect to MQTT broker after %d attempts", max_retries);
		device_write_led(LED_ERROR, LED_ON);
	}
}

int app_mqtt_init(struct mqtt_client *client)
{
	int rc;
	struct zsock_addrinfo *result;
	struct zsock_addrinfo hints;

	LOG_INF("Initializing MQTT client...");

	/* Resolve MQTT broker hostname via Zephyr socket API */
	memset(&hints, 0, sizeof(hints));
	hints.ai_family = AF_INET;
	hints.ai_socktype = SOCK_STREAM;
	rc = zsock_getaddrinfo(CONFIG_NET_SAMPLE_MQTT_BROKER_HOSTNAME,
			 CONFIG_NET_SAMPLE_MQTT_BROKER_PORT,
			 &hints, &result);
	if (rc != 0 || result == NULL) {
		LOG_ERR("Failed to resolve broker %s:%s, err=%d",
			CONFIG_NET_SAMPLE_MQTT_BROKER_HOSTNAME,
			CONFIG_NET_SAMPLE_MQTT_BROKER_PORT, rc);
		return -EIO;
	}

	/* Copy resolved address into broker storage */
	memcpy(&broker, result->ai_addr, result->ai_addrlen);
	zsock_freeaddrinfo(result);

	/* Log resolved IP address */
	char broker_ip[NET_IPV4_ADDR_LEN];
	net_addr_ntop(AF_INET,
		      &((struct sockaddr_in *)&broker)->sin_addr,
		      broker_ip, sizeof(broker_ip));
	LOG_INF("Resolved MQTT broker: %s -> %s:%s",
		CONFIG_NET_SAMPLE_MQTT_BROKER_HOSTNAME, broker_ip,
		CONFIG_NET_SAMPLE_MQTT_BROKER_PORT);

	/* Initialize MQTT client ID */
	init_mqtt_client_id();

	/* Initialize MQTT client */
	mqtt_client_init(client);
	client->broker = &broker;
	client->evt_cb = mqtt_event_handler;
	client->client_id.utf8 = client_id;
	client->client_id.size = strlen((char *)client_id);
	client->password = NULL;
	client->user_name = NULL;
	client->protocol_version = MQTT_VERSION_3_1_1;
	client->keepalive = 10; /* Drastically reduced keepalive to 10 seconds */
	client->clean_session = 1;

	/* Configure MQTT buffers */
	client->rx_buf = rx_buffer;
	client->rx_buf_size = sizeof(rx_buffer);
	client->tx_buf = tx_buffer;
	client->tx_buf_size = sizeof(tx_buffer);

	/* Configure transport */
#if defined(CONFIG_MQTT_LIB_TLS)
	rc = tls_init();
	if (rc != 0) {
		LOG_ERR("TLS initialization failed [%d]", rc);
		/* Continue with non-secure connection */
	}
	/* For now, use non-secure transport */
	client->transport.type = MQTT_TRANSPORT_NON_SECURE;
#else
	client->transport.type = MQTT_TRANSPORT_NON_SECURE;
#endif

	LOG_INF("MQTT client initialized successfully");
	LOG_INF("Client ID: %s", client_id);
	LOG_INF("Broker: %s:%s", CONFIG_NET_SAMPLE_MQTT_BROKER_HOSTNAME, 
		CONFIG_NET_SAMPLE_MQTT_BROKER_PORT);
	LOG_INF("Publish topic: %s", CONFIG_NET_SAMPLE_MQTT_PUB_TOPIC);
	LOG_INF("Command topic: %s", CONFIG_NET_SAMPLE_MQTT_SUB_TOPIC_CMD);

	return 0;
}
```

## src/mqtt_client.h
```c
/*
 * Copyright (c) 2024 disco_mqtt_2 project
 * SPDX-License-Identifier: Apache-2.0
 */

#ifndef __MQTT_CLIENT_H__
#define __MQTT_CLIENT_H__

#include <zephyr/kernel.h>
#include <zephyr/net/mqtt.h>

/* Timeout values in milliseconds */
#define MSECS_NET_POLL_TIMEOUT      5000
#define MSECS_WAIT_RECONNECT        5000

/* External MQTT connectivity status flag */
extern bool mqtt_connected;

/* Function prototypes */

/**
 * @brief Initialize MQTT client
 * @param client Pointer to MQTT client structure
 * @return 0 on success, negative error code on failure
 */
int app_mqtt_init(struct mqtt_client *client);

/**
 * @brief Connect to MQTT broker (blocking)
 * @param client Pointer to MQTT client structure
 */
void app_mqtt_connect(struct mqtt_client *client);

/**
 * @brief Subscribe to MQTT topics
 * @param client Pointer to MQTT client structure
 * @return 0 on success, negative error code on failure
 */
int app_mqtt_subscribe(struct mqtt_client *client);

/**
 * @brief Publish sensor data to MQTT broker
 * @param client Pointer to MQTT client structure
 * @return 0 on success, negative error code on failure
 */
int app_mqtt_publish(struct mqtt_client *client);

/**
 * @brief Process incoming MQTT messages and keep connection alive
 * @param client Pointer to MQTT client structure
 * @return 0 on success, negative error code on failure
 */
int app_mqtt_process(struct mqtt_client *client);

/**
 * @brief Main MQTT run loop with subscription and message processing
 * @param client Pointer to MQTT client structure
 */
void app_mqtt_run(struct mqtt_client *client);

#endif /* __MQTT_CLIENT_H__ */ 
```

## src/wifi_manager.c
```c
/*
 * Copyright (c) 2024 disco_mqtt_2 project
 * SPDX-License-Identifier: Apache-2.0
 */

#include <zephyr/logging/log.h>
LOG_MODULE_REGISTER(wifi_manager, LOG_LEVEL_DBG);

#include <zephyr/kernel.h>
#include <zephyr/net/net_if.h>
#include <zephyr/net/net_mgmt.h>
#include <zephyr/net/wifi_mgmt.h>
#include <zephyr/net/conn_mgr_monitor.h>
#include <zephyr/net/net_event.h>
#include <string.h>

#include "wifi_manager.h"
#include "device.h"

/* WiFi management state */
static enum app_wifi_status wifi_status = APP_WIFI_DISCONNECTED;
static struct net_if *wifi_iface = NULL;

/* Synchronization primitives */
static K_SEM_DEFINE(wifi_scan_sem, 0, 1);
static K_SEM_DEFINE(wifi_connect_sem, 0, 1);

/* Network management callback */
static struct net_mgmt_event_callback net_mgmt_cb;

/* Current WiFi connection parameters */
static char current_ssid[WIFI_SSID_MAX_LEN];
static char current_password[WIFI_PSK_MAX_LEN];

static void wifi_mgmt_event_handler(struct net_mgmt_event_callback *cb,
				    uint32_t mgmt_event, struct net_if *iface)
{
	const struct wifi_scan_result *scan_result;
	const struct wifi_status *status;

	switch (mgmt_event) {
	case NET_EVENT_WIFI_SCAN_RESULT:
		scan_result = (const struct wifi_scan_result *)cb->info;
		if (scan_result && scan_result->ssid_length > 0) {
			LOG_DBG("Found SSID: %.*s, RSSI: %d dBm, Security: %d, Channel: %d",
				scan_result->ssid_length, scan_result->ssid,
				scan_result->rssi, scan_result->security, scan_result->channel);
		}
		break;

	case NET_EVENT_WIFI_SCAN_DONE:
		LOG_INF("WiFi scan completed");
		k_sem_give(&wifi_scan_sem);
		break;

	case NET_EVENT_WIFI_CONNECT_RESULT:
		status = (const struct wifi_status *)cb->info;
		if (status && status->status == 0) {
			LOG_INF("WiFi connected successfully");
			wifi_status = APP_WIFI_CONNECTED;
			device_write_led(LED_NET, LED_ON);
		} else {
			LOG_ERR("WiFi connection failed (status: %d)", 
				status ? status->status : -1);
			wifi_status = APP_WIFI_ERROR;
			device_write_led(LED_NET, LED_OFF);
		}
		k_sem_give(&wifi_connect_sem);
		break;

	case NET_EVENT_WIFI_DISCONNECT_RESULT:
		LOG_INF("WiFi disconnected");
		wifi_status = APP_WIFI_DISCONNECTED;
		device_write_led(LED_NET, LED_OFF);
		break;

	default:
		break;
	}
}

int wifi_manager_init(void)
{
	wifi_iface = net_if_get_default();
	if (!wifi_iface) {
		LOG_ERR("No default network interface found");
		return -ENODEV;
	}

	/* Initialize network management callback */
	net_mgmt_init_event_callback(&net_mgmt_cb, wifi_mgmt_event_handler,
				     NET_EVENT_WIFI_SCAN_RESULT |
				     NET_EVENT_WIFI_SCAN_DONE |
				     NET_EVENT_WIFI_CONNECT_RESULT |
				     NET_EVENT_WIFI_DISCONNECT_RESULT);
	net_mgmt_add_event_callback(&net_mgmt_cb);

	wifi_status = APP_WIFI_DISCONNECTED;

	LOG_INF("WiFi manager initialized");
	return 0;
}

int wifi_scan(void)
{
	int rc;

	if (!wifi_iface) {
		LOG_ERR("WiFi interface not initialized");
		return -ENODEV;
	}

	LOG_INF("Starting WiFi scan...");
	rc = net_mgmt(NET_REQUEST_WIFI_SCAN, wifi_iface, NULL, 0);
	if (rc) {
		LOG_ERR("WiFi scan request failed [%d]", rc);
		return rc;
	}

	/* Wait for scan completion with timeout */
	if (k_sem_take(&wifi_scan_sem, K_SECONDS(30)) != 0) {
		LOG_ERR("WiFi scan timeout");
		return -ETIMEDOUT;
	}

	LOG_INF("WiFi scan completed successfully");
	return 0;
}

int wifi_connect(const char *ssid, const char *password)
{
	int rc;
	struct wifi_connect_req_params params;

	if (!wifi_iface) {
		LOG_ERR("WiFi interface not initialized");
		return -ENODEV;
	}

	if (!ssid || strlen(ssid) == 0) {
		LOG_ERR("Invalid SSID");
		return -EINVAL;
	}

	if (!password || strlen(password) == 0) {
		LOG_ERR("Invalid password");
		return -EINVAL;
	}

	/* Store current connection parameters */
	strncpy(current_ssid, ssid, sizeof(current_ssid) - 1);
	current_ssid[sizeof(current_ssid) - 1] = '\0';
	strncpy(current_password, password, sizeof(current_password) - 1);
	current_password[sizeof(current_password) - 1] = '\0';

	/* Set up connection parameters */
	memset(&params, 0, sizeof(params));
	params.ssid = (uint8_t *)ssid;
	params.ssid_length = strlen(ssid);
	params.psk = (uint8_t *)password;
	params.psk_length = strlen(password);
	params.security = WIFI_SECURITY_TYPE_PSK;
	params.channel = WIFI_CHANNEL_ANY;
	params.timeout = 30000; /* 30 second timeout */

	wifi_status = APP_WIFI_CONNECTING;
	device_write_led(LED_NET, LED_OFF); /* Turn off LED during connection */

	LOG_INF("Connecting to WiFi SSID: %s", ssid);
	rc = net_mgmt(NET_REQUEST_WIFI_CONNECT, wifi_iface, &params, sizeof(params));
	if (rc) {
		LOG_ERR("WiFi connect request failed [%d]", rc);
		wifi_status = APP_WIFI_ERROR;
		return rc;
	}

	/* Wait for connection result with timeout */
	if (k_sem_take(&wifi_connect_sem, K_SECONDS(35)) != 0) {
		LOG_ERR("WiFi connection timeout");
		wifi_status = APP_WIFI_ERROR;
		return -ETIMEDOUT;
	}

	if (wifi_status == APP_WIFI_CONNECTED) {
		LOG_INF("Successfully connected to WiFi");
		return 0;
	} else {
		LOG_ERR("WiFi connection failed");
		return -ECONNREFUSED;
	}
}

int wifi_disconnect(void)
{
	int rc;

	if (!wifi_iface) {
		LOG_ERR("WiFi interface not initialized");
		return -ENODEV;
	}

	if (wifi_status == APP_WIFI_DISCONNECTED) {
		LOG_INF("WiFi already disconnected");
		return 0;
	}

	LOG_INF("Disconnecting from WiFi...");
	rc = net_mgmt(NET_REQUEST_WIFI_DISCONNECT, wifi_iface, NULL, 0);
	if (rc) {
		LOG_ERR("WiFi disconnect request failed [%d]", rc);
		return rc;
	}

	wifi_status = APP_WIFI_DISCONNECTED;
	device_write_led(LED_NET, LED_OFF);

	LOG_INF("WiFi disconnected");
	return 0;
}

enum app_wifi_status wifi_get_status(void)
{
	return wifi_status;
}

int wifi_wait_for_connection(int timeout_ms)
{
	int64_t start_time = k_uptime_get();
	int64_t timeout_absolute = timeout_ms;

	while (wifi_status != APP_WIFI_CONNECTED) {
		if (k_uptime_get() - start_time >= timeout_absolute) {
			LOG_ERR("WiFi connection wait timeout");
			return -ETIMEDOUT;
		}

		if (wifi_status == APP_WIFI_ERROR) {
			LOG_ERR("WiFi connection error");
			return -ECONNREFUSED;
		}

		k_sleep(K_MSEC(100));
	}

	return 0;
}

int wifi_get_ip_address(char *addr_str, size_t buf_size)
{
	struct in_addr *addr;

	if (!wifi_iface) {
		LOG_ERR("WiFi interface not initialized");
		return -ENODEV;
	}

	if (!addr_str || buf_size == 0) {
		return -EINVAL;
	}

	if (wifi_status != APP_WIFI_CONNECTED) {
		LOG_WRN("WiFi not connected");
		return -ENOTCONN;
	}

	/* Get IPv4 address */
	addr = net_if_ipv4_get_global_addr(wifi_iface, NET_ADDR_PREFERRED);
	if (!addr) {
		LOG_WRN("No IPv4 address assigned");
		return -ENODATA;
	}

	/* Convert to string */
	if (!net_addr_ntop(AF_INET, addr, addr_str, buf_size)) {
		LOG_ERR("Failed to convert IP address to string");
		return -EINVAL;
	}

	return 0;
} 
```

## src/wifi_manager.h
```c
/*
 * Copyright (c) 2024 disco_mqtt_2 project
 * SPDX-License-Identifier: Apache-2.0
 */

#ifndef __WIFI_MANAGER_H__
#define __WIFI_MANAGER_H__

#include <zephyr/kernel.h>
#include <zephyr/net/net_if.h>
#include <zephyr/net/wifi_mgmt.h>

/* WiFi connection status */
enum app_wifi_status {
	APP_WIFI_DISCONNECTED = 0,
	APP_WIFI_CONNECTING,
	APP_WIFI_CONNECTED,
	APP_WIFI_ERROR
};

/* Function prototypes */

/**
 * @brief Initialize WiFi manager
 * @return 0 on success, negative error code on failure
 */
int wifi_manager_init(void);

/**
 * @brief Connect to WiFi network
 * @param ssid WiFi network SSID
 * @param password WiFi network password
 * @return 0 on success, negative error code on failure
 */
int wifi_connect(const char *ssid, const char *password);

/**
 * @brief Disconnect from WiFi network
 * @return 0 on success, negative error code on failure
 */
int wifi_disconnect(void);

/**
 * @brief Get current WiFi status
 * @return Current WiFi status
 */
enum app_wifi_status wifi_get_status(void);

/**
 * @brief Scan for available WiFi networks
 * @return 0 on success, negative error code on failure
 */
int wifi_scan(void);

/**
 * @brief Wait for WiFi connection with timeout
 * @param timeout_ms Timeout in milliseconds
 * @return 0 if connected, negative error code on timeout/failure
 */
int wifi_wait_for_connection(int timeout_ms);

/**
 * @brief Get the IP address assigned to the WiFi interface
 * @param addr_str Buffer to store the IP address string
 * @param buf_size Size of the buffer
 * @return 0 on success, negative error code on failure
 */
int wifi_get_ip_address(char *addr_str, size_t buf_size);

#endif /* __WIFI_MANAGER_H__ */ 
```
